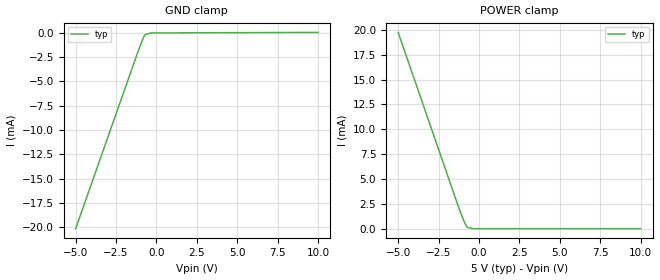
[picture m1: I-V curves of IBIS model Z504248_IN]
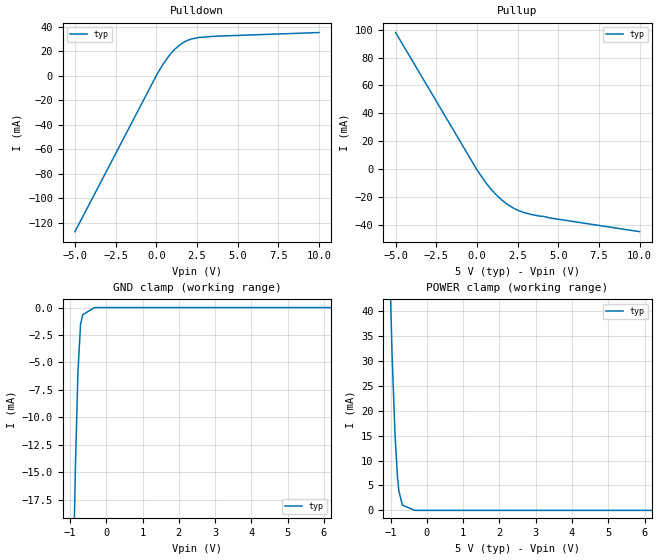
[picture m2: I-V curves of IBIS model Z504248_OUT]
| YOU ARE ONLY AUTHORIZED TO USE THIS SOFTWARE
| ACCORDING TO LICENSOR'S LICENSE RESTRICTIONS.
[IBIS Ver] 3.1
[File Name] mc74hc4514n.ibs
[File Rev] 2.0
[Source] Measured and created by ICX Technology
[Date] Friday 7/14/00 9:08:10 AM
[Copyright]
| (C) COPYRIGHT 1993-2000
| MENTOR GRAPHICS CORPORATION
| ICX STANDARD LIBRARY, ICX PROJECT MODELING,
| ICX CUSTOM MODELING, ICX VENDOR MODEL
| ALL RIGHTS RESERVED.
| THE FOLLOWING ARE TRADEMARKS OR SERVICE MARKS OF
| MENTOR GRAPHICS CORPORATION:ICX (R), ICX STANDARD
| LIBRARY(R), ICX PROJECT MODELING(R), ICX CUSTOM
| MODELING(R), qualityIBIS(TM), MODELVIEWER(TM),
| AND MODELEDITOR(TM)
| ALL COPIES OF SOFTWARE, INCLUDING BUT NOT LIMITED TO
| ANY MODIFICATIONS, ENHANCEMENTS OR DERIVATIVE WORKS,
| MUST CONTAIN ALL MENTOR GRAPHICS CORPORATION'S
| NOTICES AND LEGENDS, INCLUDING THOSE EMBEDDED IN
| SOFTWARE AND THOSE AFFIXED TO SOFTWARE MEDIUM
| AND CONTAINER, AS RECEIVED FROM MENTOR GRAPHICS
| CORPORATION.
|  ZAP Model Builder 2.7
[Component] MC74HC4514N
[Manufacturer] OnSemiconductor
[Package]
| variable   typ   min   max
R_pkg  .22ohms NA NA
L_pkg  6.927nH NA NA
C_pkg  1.437pF NA NA
[Pin] signal_name  model_name  R_pin  L_pin C_pin
1 LE Z504248_IN .24 12.76n 2.162p
2 A Z504248_IN .232 9.76n 1.872p
3 B Z504248_IN .224 7.26n 1.582p
4 Y7 Z504248_OUT .216 5.26n 1.292p
5 Y6 Z504248_OUT .208 3.76n 1.002p
6 Y5 Z504248_OUT .2 2.76n .712p
7 Y4 Z504248_OUT .2 2.76n .712p
8 Y3 Z504248_OUT .208 3.76n 1.002p
9 Y2 Z504248_OUT .216 5.26n 1.292p
10 Y1 Z504248_OUT .224 7.26n 1.582p
11 Y0 Z504248_OUT .232 9.76n 1.872p
12 GROUND GND .24 12.76n 2.162p
13 Y13 Z504248_OUT .24 12.76n 2.162p
14 Y12 Z504248_OUT .232 9.76n 1.872p
15 Y15 Z504248_OUT .224 7.26n 1.582p
16 Y14 Z504248_OUT .216 5.26n 1.292p
17 Y9 Z504248_OUT .208 3.76n 1.002p
18 Y8 Z504248_OUT .2 2.76n .712p
19 Y11 Z504248_OUT .2 2.76n .712p
20 Y10 Z504248_OUT .208 3.76n 1.002p
21 C Z504248_IN .216 5.26n 1.292p
22 D Z504248_IN .224 7.26n 1.582p
23 _G Z504248_IN .232 9.76n 1.872p
24 VCC POWER .24 12.76n 2.162p
| Models and submodels in the file (2): Z504248_IN (Input), Z504248_OUT (Output)
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| (C) COPYRIGHT 1993-2000
| MENTOR GRAPHICS CORPORATION
| ICX STANDARD LIBRARY, ICX PROJECT MODELING,
| ICX CUSTOM MODELING, ICX VENDOR MODEL
| ALL RIGHTS RESERVED.
| THE FOLLOWING ARE TRADEMARKS OR SERVICE MARKS OF
| MENTOR GRAPHICS CORPORATION:ICX (R), ICX STANDARD
| LIBRARY(R), ICX PROJECT MODELING(R), ICX CUSTOM
| MODELING(R), qualityIBIS(TM), MODELVIEWER(TM),
| AND MODELEDITOR(TM)
| ALL COPIES OF SOFTWARE, INCLUDING BUT NOT LIMITED TO
| ANY MODIFICATIONS, ENHANCEMENTS OR DERIVATIVE WORKS,
| MUST CONTAIN ALL MENTOR GRAPHICS CORPORATION'S
| NOTICES AND LEGENDS, INCLUDING THOSE EMBEDDED IN
| SOFTWARE AND THOSE AFFIXED TO SOFTWARE MEDIUM
| AND CONTAINER, AS RECEIVED FROM MENTOR GRAPHICS
| CORPORATION.
| Model Application Version 1.89 2/18/99.
[Model] Z504248_IN
Model_type Input
Vinl = 1.000V
Vinh = 3.500V
C_comp 4.000pF NA NA
| variable typ   min   max
[Voltage Range] 5.000V NA NA
[GND Clamp Reference] 0.000V NA NA
[POWER Clamp Reference] 5.000V NA NA
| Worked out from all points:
|   GND clamp passes 1 mA (typ) near -0.92 V on its own axis
[GND Clamp]
-5V       -20.13mA   NA         NA
-1.132V   -1.899mA   NA         NA
-898.4mV  -885.1uA   NA         NA
-728.1mV  -236.3uA   NA         NA
-364.1mV  -29.67uA   NA         NA
10V       26.09uA    NA         NA
[POWER Clamp]
-5V       19.75mA    NA         NA
-1.195V   1.847mA    NA         NA
-867mV    516.6uA    NA         NA
-710mV    114.7uA    NA         NA
-355mV    0A         NA         NA
10V       0A         NA         NA
| (C) COPYRIGHT 1993-2000
| MENTOR GRAPHICS CORPORATION
| ICX STANDARD LIBRARY, ICX PROJECT MODELING,
| ICX CUSTOM MODELING, ICX VENDOR MODEL
| ALL RIGHTS RESERVED.
| THE FOLLOWING ARE TRADEMARKS OR SERVICE MARKS OF
| MENTOR GRAPHICS CORPORATION:ICX (R), ICX STANDARD
| LIBRARY(R), ICX PROJECT MODELING(R), ICX CUSTOM
| MODELING(R), qualityIBIS(TM), MODELVIEWER(TM),
| AND MODELEDITOR(TM)
| ALL COPIES OF SOFTWARE, INCLUDING BUT NOT LIMITED TO
| ANY MODIFICATIONS, ENHANCEMENTS OR DERIVATIVE WORKS,
| MUST CONTAIN ALL MENTOR GRAPHICS CORPORATION'S
| NOTICES AND LEGENDS, INCLUDING THOSE EMBEDDED IN
| SOFTWARE AND THOSE AFFIXED TO SOFTWARE MEDIUM
| AND CONTAINER, AS RECEIVED FROM MENTOR GRAPHICS
| CORPORATION.
| Model Application Version 1.89 2/18/99.
[Model] Z504248_OUT
Model_type Output
Vref=0.000V
Rref=500.0Mohms
Cref=50.00pF
Vmeas=2.500V
C_comp 8.000pF NA NA
| variable typ   min   max
[Voltage Range] 5.000V NA NA
[POWER Clamp Reference] 5.000V NA NA
[Pullup Reference] 5.000V NA NA
[Pulldown Reference] 0.000V NA NA
[GND Clamp Reference] 0.000V NA NA
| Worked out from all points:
|   slope of the pulldown table from 0 to 0.75 V, typ, clamps not added: 48.1 ohm
|   slope of the pullup table from 0 to 0.75 V, typ, clamps not added: 61.2 ohm
|   GND clamp passes 1 mA (typ) near -0.67 V on its own axis
[GND Clamp]
-5V       -710.5mA   NA         NA
-849.6mV  -14.21mA   NA         NA
-781.3mV  -5.832mA   NA         NA
-710mV    -1.538mA   NA         NA
-649.4mV  -651.1uA   NA         NA
-324.7mV  0A         NA         NA
10V       0A         NA         NA
[Pulldown]
-5V       -127.2mA   NA         NA
46.54mV   1.322mA    NA         NA
708.1mV   15.04mA    NA         NA
1.162V    22.02mA    NA         NA
1.494V    25.75mA    NA         NA
2.051V    29.61mA    NA         NA
2.628V    31.37mA    NA         NA
10V       35.31mA    NA         NA
[Pullup]
-5V       97.93mA    NA         NA
20mV      -914.1uA   NA         NA
552mV     -9.911mA   NA         NA
864mV     -14.42mA   NA         NA
1.494V    -21.9mA    NA         NA
2.246V    -28.01mA   NA         NA
2.666V    -30.27mA   NA         NA
3.301V    -32.49mA   NA         NA
10V       -44.9mA    NA         NA
[POWER Clamp]
-5V       1.371A     NA         NA
-1.113V   72.85mA    NA         NA
-961mV    31.32mA    NA         NA
-879mV    15.11mA    NA         NA
-811mV    6.621mA    NA         NA
-775mV    3.96mA     NA         NA
-679mV    1.07mA     NA         NA
-339.5mV  0A         NA         NA
10V       0A         NA         NA
[Ramp]
| variable typ min max
dV/dt_r 2.704/3.800n NA NA
dV/dt_f 2.704/3.509n NA NA
R_load = 500.0Ohms
